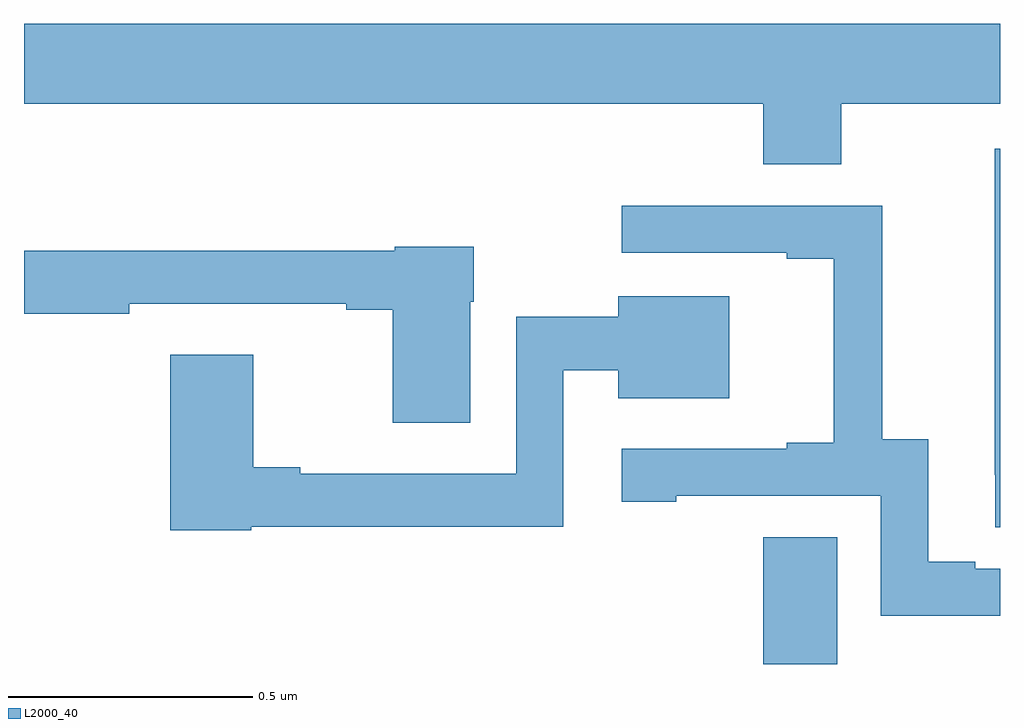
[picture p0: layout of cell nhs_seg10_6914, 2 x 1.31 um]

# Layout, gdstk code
import gdstk
lib = gdstk.Library(unit=1e-6, precision=1e-09)
def R(c, l, rs):  # rectangles x0, y0, x1, y1
    for r in rs: c.add(gdstk.rectangle(r[:2], r[2:], *l))
def P(c, l, *ps):  # polygons
    for p in ps: c.add(gdstk.Polygon(p, *l))
L2000_40 = (2000, 40)

nhs_seg10_6914 = lib.new_cell('nhs_seg10_6914')
R(nhs_seg10_6914, L2000_40, [(198.515,1300.5,198.667,1300.76)])
P(nhs_seg10_6914, L2000_40, [(198.675,1301.648),(199,1301.648),(199,1301.812),(197,1301.812),(197,1301.648),(198.515,1301.648),(198.515,1301.524),(198.675,1301.524)],
  [(199,1301.556),(198.989,1301.556),(198.989,1300.888),(198.99,1300.888),(198.99,1300.78),(199,1300.78)],
  [(199,1300.695),(198.949,1300.695),(198.949,1300.71),(198.853,1300.71),(198.853,1300.961),(198.759,1300.961),(198.759,1301.439),(198.225,1301.439),(198.225,1301.343),(198.563,1301.343),(198.563,1301.331),(198.659,1301.331),(198.659,1300.954),(198.563,1300.954),(198.563,1300.941),(198.225,1300.941),(198.225,1300.833),(198.337,1300.833),(198.337,1300.845),(198.756,1300.845),(198.756,1300.599),(199,1300.599)],
  [(197.914,1301.243),(197.922,1301.243),(197.922,1301.355),(197.76,1301.355),(197.76,1301.347),(197,1301.347),(197,1301.218),(197.216,1301.218),(197.216,1301.238),(197.66,1301.238),(197.66,1301.226),(197.756,1301.226),(197.756,1300.995),(197.914,1300.995)],
  [(197.466,1300.782),(198.105,1300.782),(198.105,1301.102),(198.218,1301.102),(198.218,1301.045),(198.445,1301.045),(198.445,1301.254),(198.218,1301.254),(198.218,1301.212),(198.009,1301.212),(198.009,1300.89),(197.566,1300.89),(197.566,1300.903),(197.47,1300.903),(197.47,1301.134),(197.3,1301.134),(197.3,1300.774),(197.466,1300.774)])

lib.write_gds('nhs_seg10_6914.gds')
